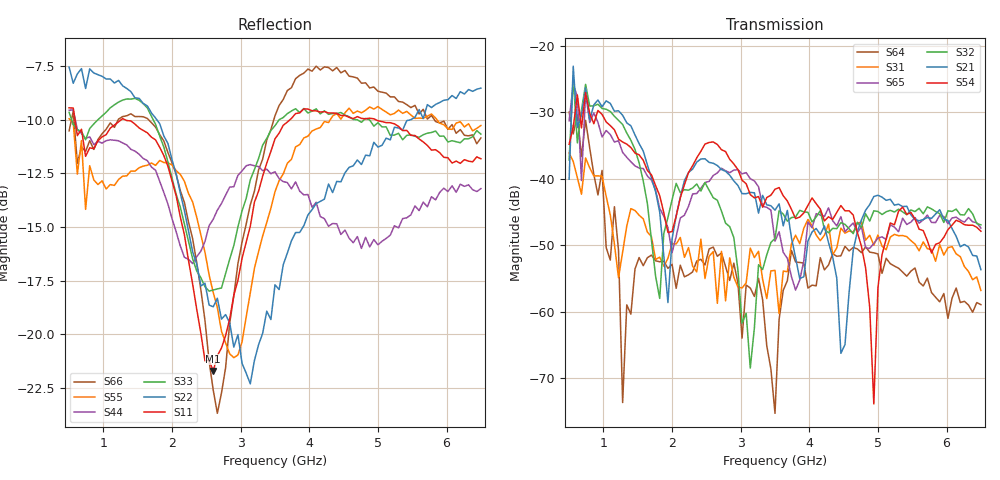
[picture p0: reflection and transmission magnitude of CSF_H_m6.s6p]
!Keysight Technologies,M9804A,MY58100912,A.14.10.03
!Date: Thursday, April 27, 2023 10:28:33
!Correction: S11(C  6-Port  )
!S12(C  6-Port  )
!S13(C  6-Port  )
!S14(C  6-Port  )
!S15(C  6-Port  )
!S16(C  6-Port  )
!S21(C  6-Port  )
!S22(C  6-Port  )
!S23(C  6-Port  )
!S24(C  6-Port  )
!S25(C  6-Port  )
!S26(C  6-Port  )
!S31(C  6-Port  )
!S32(C  6-Port  )
!S33(C  6-Port  )
!S34(C  6-Port  )
!S35(C  6-Port  )
!S36(C  6-Port  )
!S41(C  6-Port  )
!S42(C  6-Port  )
!S43(C  6-Port  )
!S44(C  6-Port  )
!S45(C  6-Port  )
!S46(C  6-Port  )
!S51(C  6-Port  )
!S52(C  6-Port  )
!S53(C  6-Port  )
!S54(C  6-Port  )
!S55(C  6-Port  )
!S56(C  6-Port  )
!S61(C  6-Port  )
!S62(C  6-Port  )
!S63(C  6-Port  )
!S64(C  6-Port  )
!S65(C  6-Port  )
!S66(C  6-Port  )
!S6P File: Measurement: :
# Hz S  RI  R 50
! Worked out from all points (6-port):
!   101 points, 500 MHz to 6.5 GHz, reference 50 ohm
!   strongest paths, dB at 500 MHz, 2 GHz, 3.5 GHz, 5 GHz, 6.5 GHz:
!     S54: -34.8, -48.0, -41.6, -56.4, -47.9
!     S21: -40.1, -49.1, -44.7, -42.5, -53.7
!     S32: -37.2, -43.2, -49.0, -44.9, -46.9
!     S65: -31.3, -51.1, -49.4, -48.9, -47.4
!     S31: -36.1, -49.8, -53.8, -48.5, -56.8
!     S64: -30.0, -52.9, -75.3, -51.3, -58.9
!   lowest |S11| = -21.7 dB at 2.6 GHz (marker M1), VSWR 1.18, Z = 42.6 + j1.98 ohm
!   |S11| at or under -10 dB: 585.5 MHz to 1.259 GHz (673.5 MHz wide, 73 % of centre); 1.316 GHz to 3.717 GHz (2.401 GHz wide, 95.4 % of centre); 4.969 GHz to end of sweep
